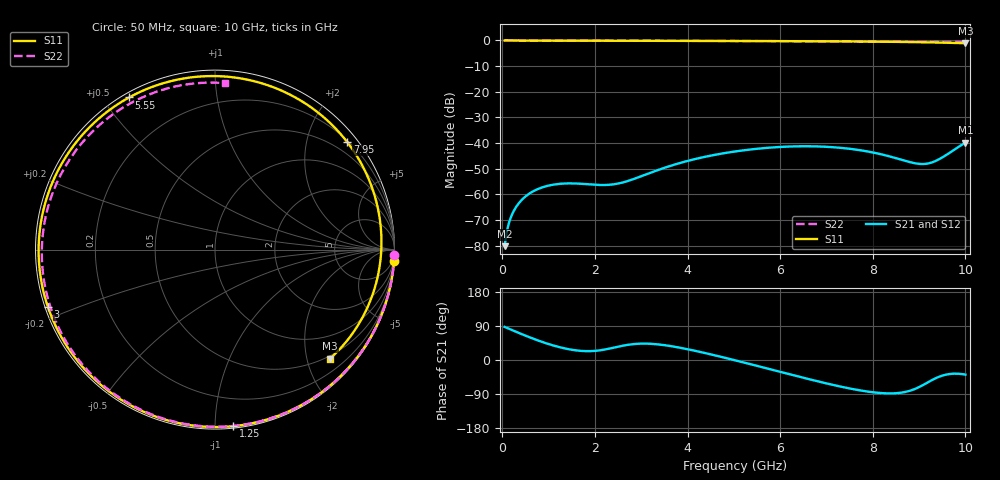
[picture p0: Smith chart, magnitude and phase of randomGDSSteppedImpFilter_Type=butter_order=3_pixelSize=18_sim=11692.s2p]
! freq	dB(S11)	phase(S11)	dB(S12)	phase(S12)
!  dB(S21)	phase(S21)	dB(S22)	phase(S22)
!S-par simulation data
#  GHz  S  DB  R 50
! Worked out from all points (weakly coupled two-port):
!   200 points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, 50 MHz to 10 GHz, reference 50 ohm
!   highest |S21| = -39.81 dB at 10 GHz (marker M1); lowest = -80.2 dB at 50 MHz (marker M2)
!   lowest |S11| = -1.1 dB at 10 GHz (marker M3), VSWR 16.12, Z = 22.1 - j122 ohm
!   |S11| at or under -10 dB: nowhere
!   |S22| runs from -0.6 to 0.0 dB; largest |S21 - S12| = 0
!   S11 on the Smith chart (normalised r, x): 50 MHz: 0, -31; 1.25 GHz: 0.01, -1.11; 3 GHz: 0.01, -0.17; 5.55 GHz: 0.02, +0.58; 7.95 GHz: 0.23, +2.80; 10 GHz: 0.44, -2.44
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0.05  -0.00 -3.7  -80.25 87.3  -80.25 87.3  -0.00 -1.6
0.1  -0.01 -7.4  -74.25 84.7  -74.25 84.7  -0.00 -3.2
0.15  -0.02 -11.1  -70.76 82.1  -70.76 82.1  -0.01 -4.8
0.25  -0.03 -18.4  -66.43 76.8  -66.43 76.8  -0.01 -8.0
0.4  -0.04 -29.2  -62.59 69.2  -62.59 69.2  -0.02 -12.8
0.8  -0.07 -56.6  -57.72 50.3  -57.72 50.3  -0.03 -25.4
1.25  -0.09 -84.2  -55.92 33.4  -55.92 33.4  -0.05 -39.4
1.75  -0.11 -110.4  -55.96 23.7  -55.96 23.7  -0.07 -54.6
2.35  -0.12 -136.8  -56.24 31.0  -56.24 31.0  -0.09 -72.0
3  -0.14 -161.1  -52.97 43.2  -52.97 43.2  -0.11 -90.1
3.4  -0.15 -174.6  -50.31 40.7  -50.31 40.7  -0.13 -100.8
4.2  -0.17 160.2  -46.10 23.3  -46.10 23.3  -0.16 -121.3
5.05  -0.21 134.6  -43.24 -1.5  -43.24 -1.5  -0.20 -142.3
5.55  -0.23 119.5  -42.16 -17.0  -42.16 -17.0  -0.23 -154.4
6.15  -0.27 100.8  -41.41 -35.9  -41.41 -35.9  -0.28 -168.8
6.7  -0.31 82.9  -41.29 -52.9  -41.29 -52.9  -0.32 177.7
7.3  -0.37 62.5  -41.87 -70.1  -41.87 -70.1  -0.36 162.8
7.95  -0.45 39.0  -43.51 -84.3  -43.51 -84.3  -0.43 145.9
8.35  -0.52 23.9  -45.16 -88.1  -45.16 -88.1  -0.47 135.1
8.9  -0.65 2.4  -47.87 -77.0  -47.87 -77.0  -0.52 119.6
9.2  -0.74 -9.8  -47.96 -58.2  -47.96 -58.2  -0.56 110.9
10  -1.08 -43.4  -39.81 -38.6  -39.81 -38.6  -0.64 86.5
